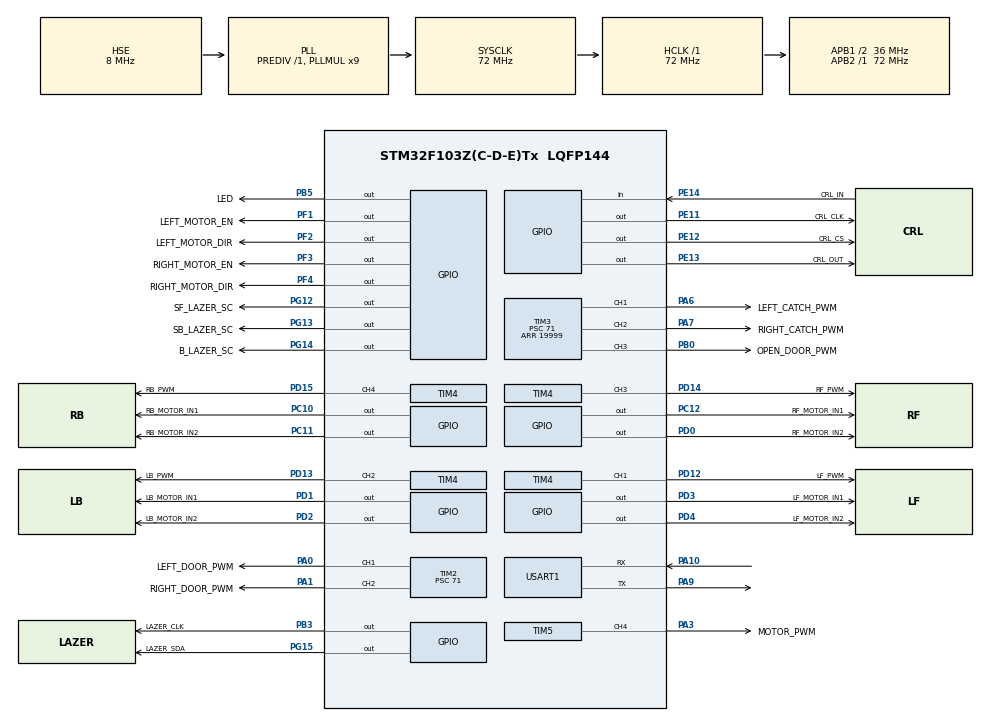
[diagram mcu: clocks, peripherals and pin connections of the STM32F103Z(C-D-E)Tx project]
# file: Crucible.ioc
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Mcu.Family=STM32F1
Mcu.Name=STM32F103Z(C-D-E)Tx
Mcu.Package=LQFP144
NVIC.PriorityGroup=NVIC_PRIORITYGROUP_4
NVIC.TIM5_IRQn=true\:0\:0\:false\:false\:true\:true\:true
OSC_IN.Mode=HSE-External-Oscillator
OSC_IN.Signal=RCC_OSC_IN
OSC_OUT.Mode=HSE-External-Oscillator
OSC_OUT.Signal=RCC_OSC_OUT
PA0-WKUP.GPIO_Label=LEFT_DOOR_PWM
PA0-WKUP.GPIO_ModeDefaultPP=GPIO_MODE_AF_PP
PA0-WKUP.GPIO_Speed=GPIO_SPEED_FREQ_HIGH
PA0-WKUP.Signal=S_TIM2_CH1_ETR
PA1.GPIO_Label=RIGHT_DOOR_PWM
PA1.GPIO_ModeDefaultPP=GPIO_MODE_AF_PP
PA1.GPIO_Speed=GPIO_SPEED_FREQ_HIGH
PA1.Signal=S_TIM2_CH2
PA10.Mode=Asynchronous
PA10.Signal=USART1_RX
PA13.Mode=Serial_Wire
PA13.Signal=SYS_JTMS-SWDIO
PA14.Mode=Serial_Wire
PA14.Signal=SYS_JTCK-SWCLK
PA3.GPIO_Label=MOTOR_PWM
PA3.GPIO_ModeDefaultPP=GPIO_MODE_AF_PP
PA3.GPIO_Speed=GPIO_SPEED_FREQ_HIGH
PA3.Signal=S_TIM5_CH4
PA6.GPIO_Label=LEFT_CATCH_PWM
PA6.GPIO_ModeDefaultPP=GPIO_MODE_AF_PP
PA6.GPIO_Speed=GPIO_SPEED_FREQ_HIGH
PA6.Signal=S_TIM3_CH1
PA7.GPIO_Label=RIGHT_CATCH_PWM
PA7.GPIO_ModeDefaultPP=GPIO_MODE_AF_PP
PA7.GPIO_Speed=GPIO_SPEED_FREQ_HIGH
PA7.Signal=S_TIM3_CH2
PA9.Mode=Asynchronous
PA9.Signal=USART1_TX
PB0.GPIO_Label=OPEN_DOOR_PWM
PB0.GPIO_ModeDefaultPP=GPIO_MODE_AF_PP
PB0.GPIO_Speed=GPIO_SPEED_FREQ_HIGH
PB0.Signal=S_TIM3_CH3
PB3.GPIO_Label=LAZER_CLK
PB3.GPIO_PuPd=GPIO_PULLDOWN
PB3.GPIO_Speed=GPIO_SPEED_FREQ_HIGH
PB3.Signal=GPIO_Output
PB5.GPIO_Label=LED
PB5.GPIO_ModeDefaultOutputPP=GPIO_MODE_OUTPUT_PP
PB5.GPIO_PuPd=GPIO_PULLDOWN
PB5.GPIO_Speed=GPIO_SPEED_FREQ_HIGH
PB5.PinState=GPIO_PIN_SET
PB5.Signal=GPIO_Output
PC10.GPIO_Label=RB_MOTOR_IN1
PC10.GPIO_ModeDefaultOutputPP=GPIO_MODE_OUTPUT_PP
PC10.GPIO_PuPd=GPIO_PULLDOWN
PC10.GPIO_Speed=GPIO_SPEED_FREQ_HIGH
PC10.PinState=GPIO_PIN_RESET
PC10.Signal=GPIO_Output
PC11.GPIO_Label=RB_MOTOR_IN2
PC11.GPIO_ModeDefaultOutputPP=GPIO_MODE_OUTPUT_PP
PC11.GPIO_PuPd=GPIO_PULLDOWN
PC11.GPIO_Speed=GPIO_SPEED_FREQ_HIGH
PC11.PinState=GPIO_PIN_RESET
PC11.Signal=GPIO_Output
PC12.GPIO_Label=RF_MOTOR_IN1
PC12.GPIO_ModeDefaultOutputPP=GPIO_MODE_OUTPUT_PP
PC12.GPIO_PuPd=GPIO_PULLDOWN
PC12.GPIO_Speed=GPIO_SPEED_FREQ_HIGH
PC12.PinState=GPIO_PIN_RESET
PC12.Signal=GPIO_Output
PD0.GPIO_Label=RF_MOTOR_IN2
PD0.GPIO_ModeDefaultOutputPP=GPIO_MODE_OUTPUT_PP
PD0.GPIO_PuPd=GPIO_PULLDOWN
PD0.GPIO_Speed=GPIO_SPEED_FREQ_HIGH
PD0.PinState=GPIO_PIN_RESET
PD0.Signal=GPIO_Output
PD1.GPIO_Label=LB_MOTOR_IN1
PD1.GPIO_ModeDefaultOutputPP=GPIO_MODE_OUTPUT_PP
PD1.GPIO_PuPd=GPIO_PULLDOWN
PD1.GPIO_Speed=GPIO_SPEED_FREQ_HIGH
PD1.PinState=GPIO_PIN_RESET
PD1.Signal=GPIO_Output
PD12.GPIO_Label=LF_PWM
PD12.GPIO_ModeDefaultPP=GPIO_MODE_AF_PP
PD12.GPIO_Speed=GPIO_SPEED_FREQ_HIGH
PD12.Signal=S_TIM4_CH1
PD13.GPIO_Label=LB_PWM
PD13.GPIO_ModeDefaultPP=GPIO_MODE_AF_PP
PD13.GPIO_Speed=GPIO_SPEED_FREQ_HIGH
PD13.Signal=S_TIM4_CH2
PD14.GPIO_Label=RF_PWM
PD14.GPIO_ModeDefaultPP=GPIO_MODE_AF_PP
PD14.GPIO_Speed=GPIO_SPEED_FREQ_HIGH
PD14.Signal=S_TIM4_CH3
PD15.GPIO_Label=RB_PWM
PD15.GPIO_ModeDefaultPP=GPIO_MODE_AF_PP
PD15.GPIO_Speed=GPIO_SPEED_FREQ_HIGH
PD15.Signal=S_TIM4_CH4
PD2.GPIO_Label=LB_MOTOR_IN2
PD2.GPIO_ModeDefaultOutputPP=GPIO_MODE_OUTPUT_PP
PD2.GPIO_PuPd=GPIO_PULLDOWN
PD2.GPIO_Speed=GPIO_SPEED_FREQ_HIGH
PD2.PinState=GPIO_PIN_RESET
PD2.Signal=GPIO_Output
PD3.GPIO_Label=LF_MOTOR_IN1
PD3.GPIO_ModeDefaultOutputPP=GPIO_MODE_OUTPUT_PP
PD3.GPIO_PuPd=GPIO_PULLDOWN
PD3.GPIO_Speed=GPIO_SPEED_FREQ_HIGH
PD3.PinState=GPIO_PIN_RESET
PD3.Signal=GPIO_Output
PD4.GPIO_Label=LF_MOTOR_IN2
PD4.GPIO_ModeDefaultOutputPP=GPIO_MODE_OUTPUT_PP
PD4.GPIO_PuPd=GPIO_PULLDOWN
PD4.GPIO_Speed=GPIO_SPEED_FREQ_HIGH
PD4.PinState=GPIO_PIN_RESET
PD4.Signal=GPIO_Output
PE11.GPIO_Label=CRL_CLK
PE11.GPIO_ModeDefaultOutputPP=GPIO_MODE_OUTPUT_PP
PE11.GPIO_PuPd=GPIO_PULLDOWN
PE11.GPIO_Speed=GPIO_SPEED_FREQ_HIGH
PE11.PinState=GPIO_PIN_RESET
PE11.Signal=GPIO_Output
PE12.GPIO_Label=CRL_CS
PE12.GPIO_ModeDefaultOutputPP=GPIO_MODE_OUTPUT_PP
PE12.GPIO_PuPd=GPIO_PULLDOWN
PE12.GPIO_Speed=GPIO_SPEED_FREQ_HIGH
PE12.PinState=GPIO_PIN_RESET
PE12.Signal=GPIO_Output
PE13.GPIO_Label=CRL_OUT
PE13.GPIO_ModeDefaultOutputPP=GPIO_MODE_OUTPUT_PP
PE13.GPIO_PuPd=GPIO_PULLDOWN
PE13.GPIO_Speed=GPIO_SPEED_FREQ_HIGH
PE13.PinState=GPIO_PIN_RESET
PE13.Signal=GPIO_Output
PE14.GPIO_Label=CRL_IN
PE14.GPIO_Mode=GPIO_MODE_INPUT
PE14.GPIO_PuPd=GPIO_PULLDOWN
PE14.Signal=GPIO_Input
PF1.GPIO_Label=LEFT_MOTOR_EN
PF1.GPIO_ModeDefaultOutputPP=GPIO_MODE_OUTPUT_PP
PF1.GPIO_PuPd=GPIO_PULLDOWN
PF1.GPIO_Speed=GPIO_SPEED_FREQ_HIGH
PF1.PinState=GPIO_PIN_RESET
PF1.Signal=GPIO_Output
PF2.GPIO_Label=LEFT_MOTOR_DIR
PF2.GPIO_ModeDefaultOutputPP=GPIO_MODE_OUTPUT_PP
PF2.GPIO_PuPd=GPIO_PULLDOWN
PF2.GPIO_Speed=GPIO_SPEED_FREQ_HIGH
PF2.PinState=GPIO_PIN_RESET
PF2.Signal=GPIO_Output
PF3.GPIO_Label=RIGHT_MOTOR_EN
PF3.GPIO_ModeDefaultOutputPP=GPIO_MODE_OUTPUT_PP
PF3.GPIO_PuPd=GPIO_PULLDOWN
PF3.GPIO_Speed=GPIO_SPEED_FREQ_HIGH
PF3.PinState=GPIO_PIN_RESET
PF3.Signal=GPIO_Output
PF4.GPIO_Label=RIGHT_MOTOR_DIR
PF4.GPIO_ModeDefaultOutputPP=GPIO_MODE_OUTPUT_PP
PF4.GPIO_PuPd=GPIO_PULLDOWN
PF4.GPIO_Speed=GPIO_SPEED_FREQ_HIGH
PF4.PinState=GPIO_PIN_RESET
PF4.Signal=GPIO_Output
PG12.GPIO_Label=SF_LAZER_SC
PG12.GPIO_PuPd=GPIO_PULLDOWN
PG12.GPIO_Speed=GPIO_SPEED_FREQ_HIGH
PG12.PinState=GPIO_PIN_RESET
PG12.Signal=GPIO_Output
PG13.GPIO_Label=SB_LAZER_SC
PG13.GPIO_PuPd=GPIO_PULLDOWN
PG13.GPIO_Speed=GPIO_SPEED_FREQ_HIGH
PG13.PinState=GPIO_PIN_RESET
PG13.Signal=GPIO_Output
PG14.GPIO_Label=B_LAZER_SC
PG14.GPIO_PuPd=GPIO_PULLDOWN
PG14.GPIO_Speed=GPIO_SPEED_FREQ_HIGH
PG14.PinState=GPIO_PIN_RESET
PG14.Signal=GPIO_Output
PG15.GPIO_Label=LAZER_SDA
PG15.GPIO_ModeDefaultOutputPP=GPIO_MODE_OUTPUT_PP
PG15.GPIO_PuPd=GPIO_PULLDOWN
PG15.GPIO_Speed=GPIO_SPEED_FREQ_HIGH
PG15.PinState=GPIO_PIN_SET
PG15.Signal=GPIO_Output
ProjectManager.HeapSize=0x200
ProjectManager.StackSize=0x400
ProjectManager.TargetToolchain=MDK-ARM V5
RCC.AHBFreq_Value=72000000
RCC.APB1CLKDivider=RCC_HCLK_DIV2
RCC.APB1Freq_Value=36000000
RCC.APB1TimFreq_Value=72000000
RCC.APB2Freq_Value=72000000
RCC.APB2TimFreq_Value=72000000
RCC.HCLKFreq_Value=72000000
RCC.PLLMUL=RCC_PLL_MUL9
RCC.PLLSourceVirtual=RCC_PLLSOURCE_HSE
RCC.SYSCLKFreq_VALUE=72000000
RCC.SYSCLKSource=RCC_SYSCLKSOURCE_PLLCLK
RCC.USBFreq_Value=72000000
SH.S_TIM2_CH1_ETR.0=TIM2_CH1,PWM Generation1 CH1
SH.S_TIM2_CH2.0=TIM2_CH2,PWM Generation2 CH2
SH.S_TIM3_CH1.0=TIM3_CH1,PWM Generation1 CH1
SH.S_TIM3_CH2.0=TIM3_CH2,PWM Generation2 CH2
SH.S_TIM3_CH3.0=TIM3_CH3,PWM Generation3 CH3
SH.S_TIM4_CH1.0=TIM4_CH1,PWM Generation1 CH1
SH.S_TIM4_CH2.0=TIM4_CH2,PWM Generation2 CH2
SH.S_TIM4_CH3.0=TIM4_CH3,PWM Generation3 CH3
SH.S_TIM4_CH4.0=TIM4_CH4,PWM Generation4 CH4
SH.S_TIM5_CH4.0=TIM5_CH4,PWM Generation4 CH4
TIM2.Channel-PWM\ Generation1\ CH1=TIM_CHANNEL_1
TIM2.Channel-PWM\ Generation2\ CH2=TIM_CHANNEL_2
TIM2.Period=19999
TIM2.Prescaler=71
TIM2.Pulse-PWM\ Generation1\ CH1=1000
TIM2.Pulse-PWM\ Generation2\ CH2=1000
TIM3.Channel-PWM\ Generation1\ CH1=TIM_CHANNEL_1
TIM3.Channel-PWM\ Generation2\ CH2=TIM_CHANNEL_2
TIM3.Channel-PWM\ Generation3\ CH3=TIM_CHANNEL_3
TIM3.Period=19999
TIM3.Prescaler=71
TIM3.Pulse-PWM\ Generation1\ CH1=1000
TIM3.Pulse-PWM\ Generation2\ CH2=1000
TIM3.Pulse-PWM\ Generation3\ CH3=1000
TIM4.Channel-PWM\ Generation1\ CH1=TIM_CHANNEL_1
TIM4.Channel-PWM\ Generation2\ CH2=TIM_CHANNEL_2
TIM4.Channel-PWM\ Generation3\ CH3=TIM_CHANNEL_3
TIM4.Channel-PWM\ Generation4\ CH4=TIM_CHANNEL_4
TIM4.Period=4999
TIM4.Prescaler=71
TIM4.Pulse-PWM\ Generation1\ CH1=3000
TIM4.Pulse-PWM\ Generation2\ CH2=3000
TIM4.Pulse-PWM\ Generation3\ CH3=3000
TIM4.Pulse-PWM\ Generation4\ CH4=3000
TIM5.Channel-PWM\ Generation4\ CH4=TIM_CHANNEL_4
TIM5.Period=9
TIM5.Prescaler=71
TIM5.Pulse-PWM\ Generation4\ CH4=5
USART1.VirtualMode=VM_ASYNC
board=custom

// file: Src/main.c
/* USER CODE BEGIN Header */
/**
  ******************************************************************************
  * @file           : main.c
  * @brief          : Main program body
  ******************************************************************************
  * @attention
  *
  * <h2><center>&copy; Copyright (c) 2020 STMicroelectronics.
  * All rights reserved.</center></h2>
  *
  * This software component is licensed by ST under BSD 3-Clause license,
  * the "License"; You may not use this file except in compliance with the
  * License. You may obtain a copy of the License at:
  *                        opensource.org/licenses/BSD-3-Clause
  *
  ******************************************************************************
  */
/* USER CODE END Header */

#include "main.h"
#include "tim.h"
#include "usart.h"
#include "gpio.h"

/* USER CODE BEGIN Includes */
#include "vl53l0x.h"
#include "vl53l0x_gen.h"
#include "motor_B.h"
#include "motor_D.h"
#include "motor.h"
#include "ps2.h"
#include "other_functions.h"
#include "lcg_functions.h"
#include "zbw_functions.h"
/* USER CODE END Includes */

/* USER CODE BEGIN PTD */
extern VL53L0X_RangingMeasurementData_t RangingMeasurementData;
/* USER CODE END PTD */

void SystemClock_Config(void);

int main(void)
{

  /* MCU Configuration--------------------------------------------------------*/

  /* Reset of all peripherals, Initializes the Flash interface and the Systick. */
  HAL_Init();

  /* Configure the system clock */
  SystemClock_Config();

  /* Initialize all configured peripherals */
  MX_GPIO_Init();
  MX_USART1_UART_Init();
  MX_TIM3_Init();
  MX_TIM4_Init();
  MX_TIM5_Init();
  MX_TIM2_Init();
  /* USER CODE BEGIN 2 */
  uint8_t POLE_RX=0;
  uint8_t POLE_RY=0;
  uint8_t POLE_LX=0;
  uint8_t POLE_LY=0;
  B_LAZER_Xshut=0;
  SB_LAZER_Xshut=0;
  SF_LAZER_Xshut=0;
  vl53l0x_init(&vl53l0x_dev0,0);
  vl53l0x_init(&vl53l0x_dev1,1);
  vl53l0x_init(&vl53l0x_dev2,2);
  /* USER CODE END 2 */

  /* Infinite loop */
  /* USER CODE BEGIN WHILE */
  while (1)
  {

	  /***遥控按键·***/
	  switch(PS2_DataKey())
	  {
		  case PSB_SELECT:
			  printf("1");
			  break;
		  case PSB_L3: printf("2");
			  break;
		  case PSB_R3: printf("3");
			  break;
		  case PSB_START: printf("4");
			  break;
		  case PSB_PAD_UP: printf("5");
			  break;
		  case PSB_PAD_RIGHT: printf("6");
			  break;
		  case PSB_PAD_DOWN: printf("7");
			  break;
		  case PSB_PAD_LEFT: printf("8");
			  break;
		  case PSB_L2: printf("9");
			  catch_2();
			  break;
		  case PSB_R2: printf("10");
			  release_1();
			  break;
		  case PSB_L1: printf("11");
			  catch_1();
			  break;
		  case PSB_R1: printf("12");
			  release_2();
			  break;
		  case PSB_GREEN: printf("13");
			  break;
		  case PSB_RED: printf("14");
			  break;
		  case PSB_BLUE: printf("15");
			  break;
		  case PSB_PINK: printf("16");
			  break;
		  case 0:
			  POLE_RX=PS2_AnologData(PSS_RX);
			  POLE_RY=PS2_AnologData(PSS_RY);
			  POLE_LX=PS2_AnologData(PSS_LX);
			  POLE_LY=PS2_AnologData(PSS_LY);
			  if(POLE_LX != 128||POLE_LY != 128||POLE_RX != 128 ||POLE_RY != 128)
			  {
				if(POLE_LX>=64&&POLE_LX<=191&&POLE_LY>178)
				{
					move_backward();
					printf("后");
				}
				else if(POLE_LX>=64&&POLE_LX<=191&&POLE_LY<50)
				{
					move_forward();
					printf("前");
				}
				else if(POLE_LY>=64&&POLE_LY<=191&&POLE_LX<50)
				{
					move_left();
					printf("左");
				}
				else if(POLE_LY>=64&&POLE_LY<=191&&POLE_LX>178)
				{
					move_right();
					printf("右");
				}
				else if(POLE_RY>=64&&POLE_RY<=191&&POLE_RX>178)
				{
					move_Scircle();
					printf("右转");
				}
				else if(POLE_RY>=64&&POLE_RY<=191&&POLE_RX<50)
				{
					move_Ncircle();
					printf("左转");
				}
			  }
			  break;
		  }
	  HAL_Delay(10);

    /* USER CODE END WHILE */

  }
}

void SystemClock_Config(void)
{
  RCC_OscInitTypeDef RCC_OscInitStruct = {0};
  RCC_ClkInitTypeDef RCC_ClkInitStruct = {0};

  /** Initializes the CPU, AHB and APB busses clocks
  */
  RCC_OscInitStruct.OscillatorType = RCC_OSCILLATORTYPE_HSE;
  RCC_OscInitStruct.HSEState = RCC_HSE_ON;
  RCC_OscInitStruct.HSEPredivValue = RCC_HSE_PREDIV_DIV1;
  RCC_OscInitStruct.HSIState = RCC_HSI_ON;
  RCC_OscInitStruct.PLL.PLLState = RCC_PLL_ON;
  RCC_OscInitStruct.PLL.PLLSource = RCC_PLLSOURCE_HSE;
  RCC_OscInitStruct.PLL.PLLMUL = RCC_PLL_MUL9;
  if (HAL_RCC_OscConfig(&RCC_OscInitStruct) != HAL_OK)
  {
    Error_Handler();
  }
  /** Initializes the CPU, AHB and APB busses clocks
  */
  RCC_ClkInitStruct.ClockType = RCC_CLOCKTYPE_HCLK|RCC_CLOCKTYPE_SYSCLK
                              |RCC_CLOCKTYPE_PCLK1|RCC_CLOCKTYPE_PCLK2;
  RCC_ClkInitStruct.SYSCLKSource = RCC_SYSCLKSOURCE_PLLCLK;
  RCC_ClkInitStruct.AHBCLKDivider = RCC_SYSCLK_DIV1;
  RCC_ClkInitStruct.APB1CLKDivider = RCC_HCLK_DIV2;
  RCC_ClkInitStruct.APB2CLKDivider = RCC_HCLK_DIV1;

  if (HAL_RCC_ClockConfig(&RCC_ClkInitStruct, FLASH_LATENCY_2) != HAL_OK)
  {
    Error_Handler();
  }
}

void Error_Handler(void)
{
}

/************************ (C) COPYRIGHT STMicroelectronics *****END OF FILE****/
